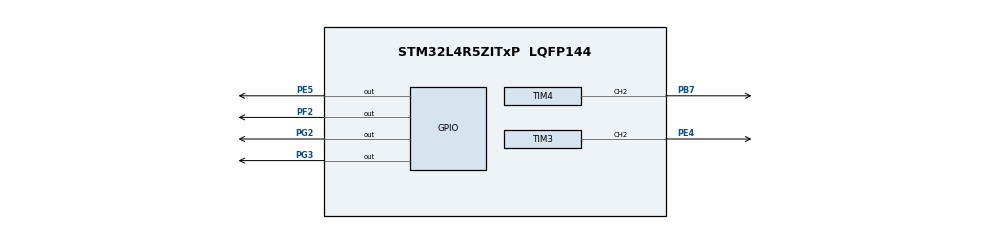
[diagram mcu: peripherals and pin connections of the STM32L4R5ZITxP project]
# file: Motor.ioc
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Mcu.Family=STM32L4
Mcu.Name=STM32L4R5ZITxP
Mcu.Package=LQFP144
NVIC.PriorityGroup=NVIC_PRIORITYGROUP_4
PA0.Signal=S_TIM2_CH1
PA1.Signal=ADCx_IN6
PA10.Signal=USB_OTG_FS_ID
PA13\ (JTMS/SWDIO).Signal=SYS_JTMS-SWDIO
PA14\ (JTCK/SWCLK).Signal=SYS_JTCK-SWCLK
PA3.Signal=ADCx_IN8
PA4.Signal=SPI1_NSS
PA5.Signal=SPI1_SCK
PA6.Signal=SPI1_MISO
PA7.Signal=SPI1_MOSI
PA8.Signal=USB_OTG_FS_SOF
PA9.Signal=USB_OTG_FS_VBUS
PB0.Signal=S_TIM3_CH3
PB1.Signal=ADCx_IN16
PB10.Signal=S_TIM2_CH3
PB12.Signal=SAI2_FS_A
PB13.Signal=SAI2_SCK_A
PB14.Signal=S_TIM15_CH1
PB15.Signal=SAI2_SD_A
PB2.Signal=COMP1_INP
PB3\ (JTDO/TRACESWO).Signal=SPI3_SCK
PB4\ (NJTRST).Signal=SPI3_MISO
PB5.Signal=SPI3_MOSI
PB6.Signal=COMP2_INP
PB7.Signal=S_TIM4_CH2
PB8.Signal=I2C1_SCL
PB9.Signal=I2C1_SDA
PC0.Signal=ADCx_IN1
PC1.Signal=ADCx_IN2
PC10.Signal=SDMMC1_D2
PC11.Signal=SDMMC1_D3
PC12.Signal=SDMMC1_CK
PC13.Signal=SYS_WKUP2
PC14-OSC32_IN\ (PC14).Signal=RCC_OSC32_IN
PC15-OSC32_OUT\ (PC15).Signal=RCC_OSC32_OUT
PC2.Signal=ADCx_IN3
PC3.Signal=ADCx_IN4
PC4.Signal=ADCx_IN13
PC5.Signal=ADCx_IN14
PC6.Signal=SAI2_MCLK_A
PC8.Signal=SDMMC1_D0
PC9.Signal=SDMMC1_D1
PD0.Signal=CAN1_RX
PD14.Signal=S_TIM4_CH3
PD15.Signal=S_TIM4_CH4
PD2.Signal=SDMMC1_CMD
PD3.Signal=USART2_CTS
PD4.Signal=USART2_RTS
PD5.Signal=USART2_TX
PD6.Signal=USART2_RX
PD8.Signal=USART3_TX
PD9.Signal=USART3_RX
PE0.Signal=S_TIM4_ETR
PE10.Signal=TIM1_CH2N
PE11.Signal=S_TIM1_CH2
PE12.Signal=TIM1_CH3N
PE13.Signal=S_TIM1_CH3
PE14.Signal=TIM1_BKIN2
PE15.Signal=TIM1_BKIN
PE2.Signal=SAI1_MCLK_A
PE3.Signal=SAI1_SD_B
PE4.Signal=S_TIM3_CH2
PE5.Signal=GPIO_Output
PE7.Signal=S_TIM1_ETR
PE8.Signal=TIM1_CH1N
PE9.Signal=S_TIM1_CH1
PF0.Signal=I2C2_SDA
PF1.Signal=I2C2_SCL
PF2.Signal=GPIO_Output
PF7.Signal=SAI1_MCLK_B
PG2.Signal=GPIO_Output
PG3.Signal=GPIO_Output
PG7.Signal=LPUART1_TX
PG8.Signal=LPUART1_RX
PH0-OSC_IN\ (PH0).Signal=RCC_OSC_IN
PH1-OSC_OUT\ (PH1).Signal=RCC_OSC_OUT
ProjectManager.HeapSize=0x200
ProjectManager.StackSize=0x400
ProjectManager.TargetToolchain=STM32CubeIDE
RCC.HSE_VALUE=8000000
RCC.HSI48_VALUE=48000000
RCC.HSI_VALUE=16000000
RCC.LSE_VALUE=32768
RCC.MSI_VALUE=4000000
RCC.VCOOutputFreq_Value=32000000
SH.ADCx_IN1.0=ADC1_IN1
SH.ADCx_IN13.0=ADC1_IN13
SH.ADCx_IN14.0=ADC1_IN14
SH.ADCx_IN16.0=ADC1_IN16
SH.ADCx_IN2.0=ADC1_IN2
SH.ADCx_IN3.0=ADC1_IN3
SH.ADCx_IN4.0=ADC1_IN4
SH.ADCx_IN6.0=ADC1_IN6
SH.ADCx_IN8.0=ADC1_IN8
SH.S_TIM15_CH1.0=TIM15_CH1
SH.S_TIM1_CH1.0=TIM1_CH1
SH.S_TIM1_CH2.0=TIM1_CH2
SH.S_TIM1_CH3.0=TIM1_CH3
SH.S_TIM1_ETR.0=TIM1_ETR
SH.S_TIM2_CH1.0=TIM2_CH1
SH.S_TIM2_CH3.0=TIM2_CH3
SH.S_TIM3_CH2.0=TIM3_CH2,PWM Generation2 CH2
SH.S_TIM3_CH3.0=TIM3_CH3
SH.S_TIM4_CH2.0=TIM4_CH2,PWM Generation2 CH2
SH.S_TIM4_CH3.0=TIM4_CH3
SH.S_TIM4_CH4.0=TIM4_CH4
SH.S_TIM4_ETR.0=TIM4_ETR
TIM3.Channel-PWM\ Generation2\ CH2=TIM_CHANNEL_2
TIM3.Period=3999
TIM3.Prescaler=39
TIM3.Pulse-PWM\ Generation2\ CH2=60
TIM4.Channel-PWM\ Generation2\ CH2=TIM_CHANNEL_2
TIM4.Period=3999
TIM4.Prescaler=39
TIM4.Pulse-PWM\ Generation2\ CH2=1
VP_TIM3_VS_ClockSourceINT.Mode=Internal
VP_TIM4_VS_ClockSourceINT.Mode=Internal
board=NUCLEO-L4R5ZI-P

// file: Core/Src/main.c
/* USER CODE BEGIN Header */
/**
  ******************************************************************************
  * @file           : main.c
  * @brief          : Main program body
  ******************************************************************************
  * @attention
  *
  * Copyright (c) 2023 STMicroelectronics.
  * All rights reserved.
  *
  * This software is licensed under terms that can be found in the LICENSE file
  * in the root directory of this software component.
  * If no LICENSE file comes with this software, it is provided AS-IS.
  *
  ******************************************************************************
  */
/* USER CODE END Header */
#include "main.h"
#include "motor.h"

/* USER CODE BEGIN PD */
#define TIM4_ADDR 0x40000800
#define TIM3_ADDR 0x40000400
#define TIM_CCR2_OFFSET 0x38
/* USER CODE END PD */

TIM_HandleTypeDef htim3;
TIM_HandleTypeDef htim4;

void SystemClock_Config(void);
static void MX_GPIO_Init(void);
static void MX_TIM4_Init(void);
static void MX_TIM3_Init(void);

/* USER CODE BEGIN 0 */
//void move_forward(){
//	HAL_GPIO_WritePin(GPIOG, GPIO_PIN_2, 1);
//	HAL_GPIO_WritePin(GPIOG, GPIO_PIN_3, 0);
//	HAL_GPIO_WritePin(GPIOE, GPIO_PIN_5, 0);
//	HAL_GPIO_WritePin(GPIOF, GPIO_PIN_2, 1);
//}

/* USER CODE END 0 */

int main(void)
{
  /* USER CODE BEGIN 1 */
//  uint32_t *tim4_ccr2 = (uint32_t *)(TIM4_ADDR + TIM_CCR2_OFFSET);
  uint32_t *tim3_ccr2 = (uint32_t *)(TIM3_ADDR + TIM_CCR2_OFFSET);

  /* USER CODE END 1 */

  /* MCU Configuration--------------------------------------------------------*/

  /* Reset of all peripherals, Initializes the Flash interface and the Systick. */
  HAL_Init();

  /* Configure the system clock */
  SystemClock_Config();

  /* Initialize all configured peripherals */
  MX_GPIO_Init();
  MX_TIM4_Init();
  MX_TIM3_Init();
  /* USER CODE BEGIN 2 */
//  HAL_TIM_PWM_Start(&htim4, TIM_CHANNEL_2);
  HAL_TIM_PWM_Start(&htim3, TIM_CHANNEL_2);
  int direction = 0;
  int count = 0;
  HAL_GPIO_WritePin(GPIOG, GPIO_PIN_2, 0);
  HAL_GPIO_WritePin(GPIOG, GPIO_PIN_3, 0);
  HAL_GPIO_WritePin(GPIOE, GPIO_PIN_5, 0);
  HAL_GPIO_WritePin(GPIOF, GPIO_PIN_2, 0);

  /* USER CODE END 2 */

  /* Infinite loop */
  while (1)
  {

    /* USER CODE BEGIN 3 */
	count ++;
    *tim3_ccr2 = 500;
    if (count % 10 == 0){
    	direction += 1;
    }
    direction = 1;
    switch (direction){
    	case 0:
    		// stop
    		// PG2 IN1, PG3 IN2, PE5 IN3, PF2 IN4
    		move_stop();
    		break;
    	case 1:
			// forward
			// PG2 IN1, PG3 IN2, PE5 IN3, PF2 IN4
    		move_forward();
			break;
    	case 2:
			// backward
			// PG2 IN1, PG3 IN2, PE5 IN3, PF2 IN4
    		move_backward();
			break;
    	case 3:
			// left
			// PG2 IN1, PG3 IN2, PE5 IN3, PF2 IN4
    		move_left();
			break;
    	case 4:
			// right
			// PG2 IN1, PG3 IN2, PE5 IN3, PF2 IN4
    		move_right();
			break;
    }
    HAL_Delay(1000);
  }
  /* USER CODE END 3 */
}

void SystemClock_Config(void)
{
  RCC_OscInitTypeDef RCC_OscInitStruct = {0};
  RCC_ClkInitTypeDef RCC_ClkInitStruct = {0};

  /** Configure the main internal regulator output voltage
  */
  if (HAL_PWREx_ControlVoltageScaling(PWR_REGULATOR_VOLTAGE_SCALE1) != HAL_OK)
  {
    Error_Handler();
  }

  /** Initializes the RCC Oscillators according to the specified parameters
  * in the RCC_OscInitTypeDef structure.
  */
  RCC_OscInitStruct.OscillatorType = RCC_OSCILLATORTYPE_MSI;
  RCC_OscInitStruct.MSIState = RCC_MSI_ON;
  RCC_OscInitStruct.MSICalibrationValue = 0;
  RCC_OscInitStruct.MSIClockRange = RCC_MSIRANGE_6;
  RCC_OscInitStruct.PLL.PLLState = RCC_PLL_NONE;
  if (HAL_RCC_OscConfig(&RCC_OscInitStruct) != HAL_OK)
  {
    Error_Handler();
  }

  /** Initializes the CPU, AHB and APB buses clocks
  */
  RCC_ClkInitStruct.ClockType = RCC_CLOCKTYPE_HCLK|RCC_CLOCKTYPE_SYSCLK
                              |RCC_CLOCKTYPE_PCLK1|RCC_CLOCKTYPE_PCLK2;
  RCC_ClkInitStruct.SYSCLKSource = RCC_SYSCLKSOURCE_MSI;
  RCC_ClkInitStruct.AHBCLKDivider = RCC_SYSCLK_DIV1;
  RCC_ClkInitStruct.APB1CLKDivider = RCC_HCLK_DIV1;
  RCC_ClkInitStruct.APB2CLKDivider = RCC_HCLK_DIV1;

  if (HAL_RCC_ClockConfig(&RCC_ClkInitStruct, FLASH_LATENCY_0) != HAL_OK)
  {
    Error_Handler();
  }
}

static void MX_TIM3_Init(void)
{

  TIM_ClockConfigTypeDef sClockSourceConfig = {0};
  TIM_MasterConfigTypeDef sMasterConfig = {0};
  TIM_OC_InitTypeDef sConfigOC = {0};

  htim3.Instance = TIM3;
  htim3.Init.Prescaler = 39;
  htim3.Init.CounterMode = TIM_COUNTERMODE_UP;
  htim3.Init.Period = 3999;
  htim3.Init.ClockDivision = TIM_CLOCKDIVISION_DIV1;
  htim3.Init.AutoReloadPreload = TIM_AUTORELOAD_PRELOAD_DISABLE;
  if (HAL_TIM_Base_Init(&htim3) != HAL_OK)
  {
    Error_Handler();
  }
  sClockSourceConfig.ClockSource = TIM_CLOCKSOURCE_INTERNAL;
  if (HAL_TIM_ConfigClockSource(&htim3, &sClockSourceConfig) != HAL_OK)
  {
    Error_Handler();
  }
  if (HAL_TIM_PWM_Init(&htim3) != HAL_OK)
  {
    Error_Handler();
  }
  sMasterConfig.MasterOutputTrigger = TIM_TRGO_RESET;
  sMasterConfig.MasterSlaveMode = TIM_MASTERSLAVEMODE_DISABLE;
  if (HAL_TIMEx_MasterConfigSynchronization(&htim3, &sMasterConfig) != HAL_OK)
  {
    Error_Handler();
  }
  sConfigOC.OCMode = TIM_OCMODE_PWM1;
  sConfigOC.Pulse = 60;
  sConfigOC.OCPolarity = TIM_OCPOLARITY_HIGH;
  sConfigOC.OCFastMode = TIM_OCFAST_DISABLE;
  if (HAL_TIM_PWM_ConfigChannel(&htim3, &sConfigOC, TIM_CHANNEL_2) != HAL_OK)
  {
    Error_Handler();
  }
  HAL_TIM_MspPostInit(&htim3);

}

static void MX_TIM4_Init(void)
{

  TIM_ClockConfigTypeDef sClockSourceConfig = {0};
  TIM_MasterConfigTypeDef sMasterConfig = {0};
  TIM_OC_InitTypeDef sConfigOC = {0};

  htim4.Instance = TIM4;
  htim4.Init.Prescaler = 39;
  htim4.Init.CounterMode = TIM_COUNTERMODE_UP;
  htim4.Init.Period = 3999;
  htim4.Init.ClockDivision = TIM_CLOCKDIVISION_DIV1;
  htim4.Init.AutoReloadPreload = TIM_AUTORELOAD_PRELOAD_DISABLE;
  if (HAL_TIM_Base_Init(&htim4) != HAL_OK)
  {
    Error_Handler();
  }
  sClockSourceConfig.ClockSource = TIM_CLOCKSOURCE_INTERNAL;
  if (HAL_TIM_ConfigClockSource(&htim4, &sClockSourceConfig) != HAL_OK)
  {
    Error_Handler();
  }
  if (HAL_TIM_PWM_Init(&htim4) != HAL_OK)
  {
    Error_Handler();
  }
  sMasterConfig.MasterOutputTrigger = TIM_TRGO_RESET;
  sMasterConfig.MasterSlaveMode = TIM_MASTERSLAVEMODE_DISABLE;
  if (HAL_TIMEx_MasterConfigSynchronization(&htim4, &sMasterConfig) != HAL_OK)
  {
    Error_Handler();
  }
  sConfigOC.OCMode = TIM_OCMODE_PWM1;
  sConfigOC.Pulse = 1;
  sConfigOC.OCPolarity = TIM_OCPOLARITY_HIGH;
  sConfigOC.OCFastMode = TIM_OCFAST_DISABLE;
  if (HAL_TIM_PWM_ConfigChannel(&htim4, &sConfigOC, TIM_CHANNEL_2) != HAL_OK)
  {
    Error_Handler();
  }
  HAL_TIM_MspPostInit(&htim4);

}

static void MX_GPIO_Init(void)
{
  GPIO_InitTypeDef GPIO_InitStruct = {0};

  /* GPIO Ports Clock Enable */
  __HAL_RCC_GPIOE_CLK_ENABLE();
  __HAL_RCC_GPIOC_CLK_ENABLE();
  __HAL_RCC_GPIOF_CLK_ENABLE();
  __HAL_RCC_GPIOH_CLK_ENABLE();
  __HAL_RCC_GPIOA_CLK_ENABLE();
  __HAL_RCC_GPIOB_CLK_ENABLE();
  __HAL_RCC_GPIOD_CLK_ENABLE();
  __HAL_RCC_GPIOG_CLK_ENABLE();
  HAL_PWREx_EnableVddIO2();

  /*Configure GPIO pin Output Level */
  HAL_GPIO_WritePin(GPIOE, GPIO_PIN_5, GPIO_PIN_RESET);

  /*Configure GPIO pin Output Level */
  HAL_GPIO_WritePin(GPIOF, GPIO_PIN_2, GPIO_PIN_RESET);

  /*Configure GPIO pin Output Level */
  HAL_GPIO_WritePin(GPIOG, GPIO_PIN_2|GPIO_PIN_3, GPIO_PIN_RESET);

  /*Configure GPIO pins : PE2 PE3 */
  GPIO_InitStruct.Pin = GPIO_PIN_2|GPIO_PIN_3;
  GPIO_InitStruct.Mode = GPIO_MODE_AF_PP;
  GPIO_InitStruct.Pull = GPIO_NOPULL;
  GPIO_InitStruct.Speed = GPIO_SPEED_FREQ_LOW;
  GPIO_InitStruct.Alternate = GPIO_AF13_SAI1;
  HAL_GPIO_Init(GPIOE, &GPIO_InitStruct);

  /*Configure GPIO pin : PE5 */
  GPIO_InitStruct.Pin = GPIO_PIN_5;
  GPIO_InitStruct.Mode = GPIO_MODE_OUTPUT_PP;
  GPIO_InitStruct.Pull = GPIO_NOPULL;
  GPIO_InitStruct.Speed = GPIO_SPEED_FREQ_LOW;
  HAL_GPIO_Init(GPIOE, &GPIO_InitStruct);

  /*Configure GPIO pins : PF0 PF1 */
  GPIO_InitStruct.Pin = GPIO_PIN_0|GPIO_PIN_1;
  GPIO_InitStruct.Mode = GPIO_MODE_AF_OD;
  GPIO_InitStruct.Pull = GPIO_NOPULL;
  GPIO_InitStruct.Speed = GPIO_SPEED_FREQ_VERY_HIGH;
  GPIO_InitStruct.Alternate = GPIO_AF4_I2C2;
  HAL_GPIO_Init(GPIOF, &GPIO_InitStruct);

  /*Configure GPIO pin : PF2 */
  GPIO_InitStruct.Pin = GPIO_PIN_2;
  GPIO_InitStruct.Mode = GPIO_MODE_OUTPUT_PP;
  GPIO_InitStruct.Pull = GPIO_NOPULL;
  GPIO_InitStruct.Speed = GPIO_SPEED_FREQ_LOW;
  HAL_GPIO_Init(GPIOF, &GPIO_InitStruct);

  /*Configure GPIO pin : PF7 */
  GPIO_InitStruct.Pin = GPIO_PIN_7;
  GPIO_InitStruct.Mode = GPIO_MODE_AF_PP;
  GPIO_InitStruct.Pull = GPIO_NOPULL;
  GPIO_InitStruct.Speed = GPIO_SPEED_FREQ_LOW;
  GPIO_InitStruct.Alternate = GPIO_AF13_SAI1;
  HAL_GPIO_Init(GPIOF, &GPIO_InitStruct);

  /*Configure GPIO pins : PC0 PC1 PC2 PC3
                           PC4 PC5 */
  GPIO_InitStruct.Pin = GPIO_PIN_0|GPIO_PIN_1|GPIO_PIN_2|GPIO_PIN_3
                          |GPIO_PIN_4|GPIO_PIN_5;
  GPIO_InitStruct.Mode = GPIO_MODE_ANALOG_ADC_CONTROL;
  GPIO_InitStruct.Pull = GPIO_NOPULL;
  HAL_GPIO_Init(GPIOC, &GPIO_InitStruct);

  /*Configure GPIO pin : PA0 */
  GPIO_InitStruct.Pin = GPIO_PIN_0;
  GPIO_InitStruct.Mode = GPIO_MODE_AF_PP;
  GPIO_InitStruct.Pull = GPIO_NOPULL;
  GPIO_InitStruct.Speed = GPIO_SPEED_FREQ_LOW;
  GPIO_InitStruct.Alternate = GPIO_AF1_TIM2;
  HAL_GPIO_Init(GPIOA, &GPIO_InitStruct);

  /*Configure GPIO pins : PA1 PA3 */
  GPIO_InitStruct.Pin = GPIO_PIN_1|GPIO_PIN_3;
  GPIO_InitStruct.Mode = GPIO_MODE_ANALOG_ADC_CONTROL;
  GPIO_InitStruct.Pull = GPIO_NOPULL;
  HAL_GPIO_Init(GPIOA, &GPIO_InitStruct);

  /*Configure GPIO pins : PA4 PA5 PA6 PA7 */
  GPIO_InitStruct.Pin = GPIO_PIN_4|GPIO_PIN_5|GPIO_PIN_6|GPIO_PIN_7;
  GPIO_InitStruct.Mode = GPIO_MODE_AF_PP;
  GPIO_InitStruct.Pull = GPIO_NOPULL;
  GPIO_InitStruct.Speed = GPIO_SPEED_FREQ_VERY_HIGH;
  GPIO_InitStruct.Alternate = GPIO_AF5_SPI1;
  HAL_GPIO_Init(GPIOA, &GPIO_InitStruct);

  /*Configure GPIO pin : PB1 */
  GPIO_InitStruct.Pin = GPIO_PIN_1;
  GPIO_InitStruct.Mode = GPIO_MODE_ANALOG_ADC_CONTROL;
  GPIO_InitStruct.Pull = GPIO_NOPULL;
  HAL_GPIO_Init(GPIOB, &GPIO_InitStruct);

  /*Configure GPIO pins : PB2 PB6 */
  GPIO_InitStruct.Pin = GPIO_PIN_2|GPIO_PIN_6;
  GPIO_InitStruct.Mode = GPIO_MODE_ANALOG;
  GPIO_InitStruct.Pull = GPIO_NOPULL;
  HAL_GPIO_Init(GPIOB, &GPIO_InitStruct);

  /*Configure GPIO pins : PE7 PE8 PE9 PE10
                           PE11 PE12 PE13 */
  GPIO_InitStruct.Pin = GPIO_PIN_7|GPIO_PIN_8|GPIO_PIN_9|GPIO_PIN_10
                          |GPIO_PIN_11|GPIO_PIN_12|GPIO_PIN_13;
  GPIO_InitStruct.Mode = GPIO_MODE_AF_PP;
  GPIO_InitStruct.Pull = GPIO_NOPULL;
  GPIO_InitStruct.Speed = GPIO_SPEED_FREQ_LOW;
  GPIO_InitStruct.Alternate = GPIO_AF1_TIM1;
  HAL_GPIO_Init(GPIOE, &GPIO_InitStruct);

  /*Configure GPIO pins : PE14 PE15 */
  GPIO_InitStruct.Pin = GPIO_PIN_14|GPIO_PIN_15;
  GPIO_InitStruct.Mode = GPIO_MODE_AF_PP;
  GPIO_InitStruct.Pull = GPIO_NOPULL;
  GPIO_InitStruct.Speed = GPIO_SPEED_FREQ_LOW;
  GPIO_InitStruct.Alternate = GPIO_AF3_TIM1_COMP1;
  HAL_GPIO_Init(GPIOE, &GPIO_InitStruct);

  /*Configure GPIO pin : PB10 */
  GPIO_InitStruct.Pin = GPIO_PIN_10;
  GPIO_InitStruct.Mode = GPIO_MODE_AF_PP;
  GPIO_InitStruct.Pull = GPIO_NOPULL;
  GPIO_InitStruct.Speed = GPIO_SPEED_FREQ_LOW;
  GPIO_InitStruct.Alternate = GPIO_AF1_TIM2;
  HAL_GPIO_Init(GPIOB, &GPIO_InitStruct);

  /*Configure GPIO pins : PB12 PB13 PB15 */
  GPIO_InitStruct.Pin = GPIO_PIN_12|GPIO_PIN_13|GPIO_PIN_15;
  GPIO_InitStruct.Mode = GPIO_MODE_AF_PP;
  GPIO_InitStruct.Pull = GPIO_NOPULL;
  GPIO_InitStruct.Speed = GPIO_SPEED_FREQ_LOW;
  GPIO_InitStruct.Alternate = GPIO_AF13_SAI2;
  HAL_GPIO_Init(GPIOB, &GPIO_InitStruct);

  /*Configure GPIO pin : PB14 */
  GPIO_InitStruct.Pin = GPIO_PIN_14;
  GPIO_InitStruct.Mode = GPIO_MODE_AF_PP;
  GPIO_InitStruct.Pull = GPIO_NOPULL;
  GPIO_InitStruct.Speed = GPIO_SPEED_FREQ_LOW;
  GPIO_InitStruct.Alternate = GPIO_AF14_TIM15;
  HAL_GPIO_Init(GPIOB, &GPIO_InitStruct);

  /*Configure GPIO pins : PD8 PD9 */
  GPIO_InitStruct.Pin = GPIO_PIN_8|GPIO_PIN_9;
  GPIO_InitStruct.Mode = GPIO_MODE_AF_PP;
  GPIO_InitStruct.Pull = GPIO_NOPULL;
  GPIO_InitStruct.Speed = GPIO_SPEED_FREQ_VERY_HIGH;
  GPIO_InitStruct.Alternate = GPIO_AF7_USART3;
  HAL_GPIO_Init(GPIOD, &GPIO_InitStruct);

  /*Configure GPIO pins : PG2 PG3 */
  GPIO_InitStruct.Pin = GPIO_PIN_2|GPIO_PIN_3;
  GPIO_InitStruct.Mode = GPIO_MODE_OUTPUT_PP;
  GPIO_InitStruct.Pull = GPIO_NOPULL;
  GPIO_InitStruct.Speed = GPIO_SPEED_FREQ_LOW;
  HAL_GPIO_Init(GPIOG, &GPIO_InitStruct);

  /*Configure GPIO pins : PG7 PG8 */
  GPIO_InitStruct.Pin = GPIO_PIN_7|GPIO_PIN_8;
  GPIO_InitStruct.Mode = GPIO_MODE_AF_PP;
  GPIO_InitStruct.Pull = GPIO_NOPULL;
  GPIO_InitStruct.Speed = GPIO_SPEED_FREQ_VERY_HIGH;
  GPIO_InitStruct.Alternate = GPIO_AF8_LPUART1;
  HAL_GPIO_Init(GPIOG, &GPIO_InitStruct);

  /*Configure GPIO pin : PC6 */
  GPIO_InitStruct.Pin = GPIO_PIN_6;
  GPIO_InitStruct.Mode = GPIO_MODE_AF_PP;
  GPIO_InitStruct.Pull = GPIO_NOPULL;
  GPIO_InitStruct.Speed = GPIO_SPEED_FREQ_LOW;
  GPIO_InitStruct.Alternate = GPIO_AF13_SAI2;
  HAL_GPIO_Init(GPIOC, &GPIO_InitStruct);

  /*Configure GPIO pins : PC8 PC9 PC10 PC11
                           PC12 */
  GPIO_InitStruct.Pin = GPIO_PIN_8|GPIO_PIN_9|GPIO_PIN_10|GPIO_PIN_11
                          |GPIO_PIN_12;
  GPIO_InitStruct.Mode = GPIO_MODE_AF_PP;
  GPIO_InitStruct.Pull = GPIO_NOPULL;
  GPIO_InitStruct.Speed = GPIO_SPEED_FREQ_VERY_HIGH;
  GPIO_InitStruct.Alternate = GPIO_AF12_SDMMC1;
  HAL_GPIO_Init(GPIOC, &GPIO_InitStruct);

  /*Configure GPIO pins : PA8 PA10 */
  GPIO_InitStruct.Pin = GPIO_PIN_8|GPIO_PIN_10;
  GPIO_InitStruct.Mode = GPIO_MODE_AF_PP;
  GPIO_InitStruct.Pull = GPIO_NOPULL;
  GPIO_InitStruct.Speed = GPIO_SPEED_FREQ_VERY_HIGH;
  GPIO_InitStruct.Alternate = GPIO_AF10_OTG_FS;
  HAL_GPIO_Init(GPIOA, &GPIO_InitStruct);

  /*Configure GPIO pin : PA9 */
  GPIO_InitStruct.Pin = GPIO_PIN_9;
  GPIO_InitStruct.Mode = GPIO_MODE_INPUT;
  GPIO_InitStruct.Pull = GPIO_NOPULL;
  HAL_GPIO_Init(GPIOA, &GPIO_InitStruct);

  /*Configure GPIO pin : PD0 */
  GPIO_InitStruct.Pin = GPIO_PIN_0;
  GPIO_InitStruct.Mode = GPIO_MODE_AF_PP;
  GPIO_InitStruct.Pull = GPIO_NOPULL;
  GPIO_InitStruct.Speed = GPIO_SPEED_FREQ_VERY_HIGH;
  GPIO_InitStruct.Alternate = GPIO_AF9_CAN1;
  HAL_GPIO_Init(GPIOD, &GPIO_InitStruct);

  /*Configure GPIO pin : PD2 */
  GPIO_InitStruct.Pin = GPIO_PIN_2;
  GPIO_InitStruct.Mode = GPIO_MODE_AF_PP;
  GPIO_InitStruct.Pull = GPIO_NOPULL;
  GPIO_InitStruct.Speed = GPIO_SPEED_FREQ_VERY_HIGH;
  GPIO_InitStruct.Alternate = GPIO_AF12_SDMMC1;
  HAL_GPIO_Init(GPIOD, &GPIO_InitStruct);

  /*Configure GPIO pins : PD3 PD4 PD5 PD6 */
  GPIO_InitStruct.Pin = GPIO_PIN_3|GPIO_PIN_4|GPIO_PIN_5|GPIO_PIN_6;
  GPIO_InitStruct.Mode = GPIO_MODE_AF_PP;
  GPIO_InitStruct.Pull = GPIO_NOPULL;
  GPIO_InitStruct.Speed = GPIO_SPEED_FREQ_VERY_HIGH;
  GPIO_InitStruct.Alternate = GPIO_AF7_USART2;
  HAL_GPIO_Init(GPIOD, &GPIO_InitStruct);

  /*Configure GPIO pins : PB3 PB4 PB5 */
  GPIO_InitStruct.Pin = GPIO_PIN_3|GPIO_PIN_4|GPIO_PIN_5;
  GPIO_InitStruct.Mode = GPIO_MODE_AF_PP;
  GPIO_InitStruct.Pull = GPIO_NOPULL;
  GPIO_InitStruct.Speed = GPIO_SPEED_FREQ_VERY_HIGH;
  GPIO_InitStruct.Alternate = GPIO_AF6_SPI3;
  HAL_GPIO_Init(GPIOB, &GPIO_InitStruct);

  /*Configure GPIO pins : PB8 PB9 */
  GPIO_InitStruct.Pin = GPIO_PIN_8|GPIO_PIN_9;
  GPIO_InitStruct.Mode = GPIO_MODE_AF_OD;
  GPIO_InitStruct.Pull = GPIO_NOPULL;
  GPIO_InitStruct.Speed = GPIO_SPEED_FREQ_VERY_HIGH;
  GPIO_InitStruct.Alternate = GPIO_AF4_I2C1;
  HAL_GPIO_Init(GPIOB, &GPIO_InitStruct);

}

void Error_Handler(void)
{
  __disable_irq();
  while (1)
  {
  }
}
